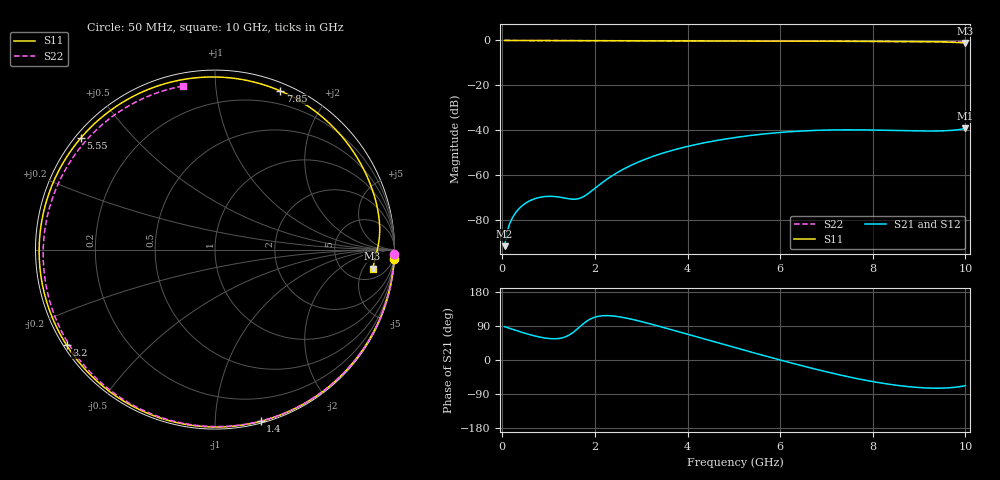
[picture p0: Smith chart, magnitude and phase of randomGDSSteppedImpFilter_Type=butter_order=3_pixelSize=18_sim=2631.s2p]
! freq	dB(S11)	phase(S11)	dB(S12)	phase(S12)
!  dB(S21)	phase(S21)	dB(S22)	phase(S22)
!S-par simulation data
#  GHz  S  DB  R 50
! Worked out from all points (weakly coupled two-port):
!   200 points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, 50 MHz to 10 GHz, reference 50 ohm
!   highest |S21| = -39.24 dB at 10 GHz (marker M1); lowest = -91.7 dB at 50 MHz (marker M2)
!   lowest |S11| = -1.1 dB at 10 GHz (marker M3), VSWR 16.31, Z = 417 - j406 ohm
!   |S11| at or under -10 dB: nowhere
!   |S22| runs from -0.6 to 0.0 dB; largest |S21 - S12| = 0
!   S11 on the Smith chart (normalised r, x): 50 MHz: 0, -40; 1.4 GHz: 0.01, -1.30; 3.2 GHz: 0.01, -0.29; 5.55 GHz: 0.02, +0.36; 7.85 GHz: 0.07, +1.49; 10 GHz: 8, -8
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0.05  -0.00 -2.9  -91.71 88.0  -91.71 88.0  -0.00 -1.3
0.2  -0.02 -11.5  -79.80 81.8  -79.80 81.8  -0.01 -5.3
0.4  -0.03 -22.7  -74.20 73.9  -74.20 73.9  -0.02 -10.5
0.7  -0.05 -39.3  -70.57 63.5  -70.57 63.5  -0.02 -18.3
1  -0.07 -55.2  -69.49 56.7  -69.49 56.7  -0.03 -26.0
1.4  -0.09 -75.2  -70.46 63.2  -70.46 63.2  -0.05 -36.3
1.6  -0.10 -84.5  -70.71 79.8  -70.71 79.8  -0.05 -41.3
1.75  -0.10 -91.3  -69.65 95.7  -69.65 95.7  -0.06 -45.1
2.5  -0.13 -122.2  -58.70 114.5  -58.70 114.5  -0.08 -63.7
3.2  -0.14 -147.2  -52.07 95.2  -52.07 95.2  -0.11 -80.6
3.4  -0.15 -153.9  -50.66 88.5  -50.66 88.5  -0.11 -85.4
4.2  -0.18 -179.2  -46.31 61.0  -46.31 61.0  -0.15 -104.2
5.05  -0.22 155.3  -43.21 31.8  -43.21 31.8  -0.19 -123.8
5.55  -0.24 140.4  -41.91 14.9  -41.91 14.9  -0.22 -135.5
6.15  -0.28 122.3  -40.78 -4.9  -40.78 -4.9  -0.27 -149.6
6.7  -0.31 105.2  -40.14 -22.2  -40.14 -22.2  -0.32 -162.8
7.3  -0.35 85.9  -39.85 -39.7  -39.85 -39.7  -0.37 -177.9
7.85  -0.39 67.6  -39.89 -53.6  -39.89 -53.6  -0.43 167.6
8.35  -0.44 50.5  -40.08 -63.9  -40.08 -63.9  -0.48 153.6
9.25  -0.57 18.9  -40.39 -74.2  -40.39 -74.2  -0.58 126.3
9.6  -0.70 6.1  -40.22 -73.7  -40.22 -73.7  -0.61 114.8
10  -1.07 -6.9  -39.24 -67.6  -39.24 -67.6  -0.64 101.2
